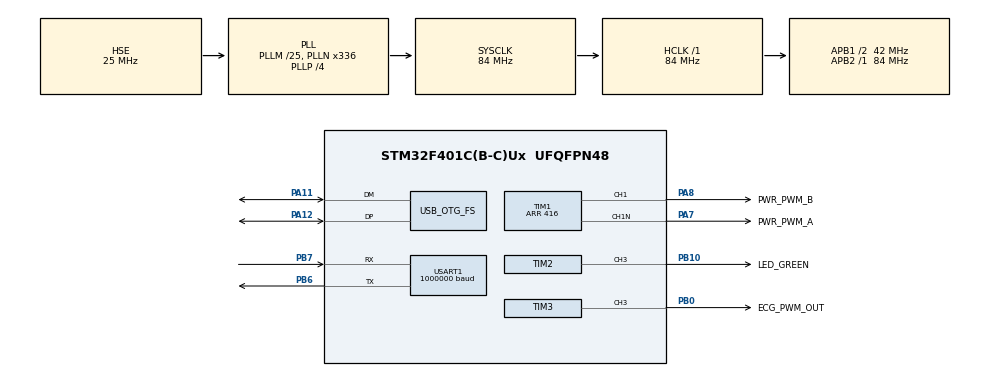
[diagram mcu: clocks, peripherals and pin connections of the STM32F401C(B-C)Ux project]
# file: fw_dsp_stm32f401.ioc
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Dma.Request0=USART1_RX
Dma.Request1=USART1_TX
Dma.USART1_RX.0.Direction=DMA_PERIPH_TO_MEMORY
Dma.USART1_RX.0.FIFOMode=DMA_FIFOMODE_DISABLE
Dma.USART1_RX.0.Instance=DMA2_Stream2
Dma.USART1_RX.0.MemDataAlignment=DMA_MDATAALIGN_BYTE
Dma.USART1_RX.0.MemInc=DMA_MINC_ENABLE
Dma.USART1_RX.0.Mode=DMA_NORMAL
Dma.USART1_RX.0.PeriphDataAlignment=DMA_PDATAALIGN_BYTE
Dma.USART1_RX.0.PeriphInc=DMA_PINC_DISABLE
Dma.USART1_RX.0.Priority=DMA_PRIORITY_HIGH
Dma.USART1_TX.1.Direction=DMA_MEMORY_TO_PERIPH
Dma.USART1_TX.1.FIFOMode=DMA_FIFOMODE_DISABLE
Dma.USART1_TX.1.Instance=DMA2_Stream7
Dma.USART1_TX.1.MemDataAlignment=DMA_MDATAALIGN_BYTE
Dma.USART1_TX.1.MemInc=DMA_MINC_ENABLE
Dma.USART1_TX.1.Mode=DMA_NORMAL
Dma.USART1_TX.1.PeriphDataAlignment=DMA_PDATAALIGN_BYTE
Dma.USART1_TX.1.PeriphInc=DMA_PINC_DISABLE
Dma.USART1_TX.1.Priority=DMA_PRIORITY_MEDIUM
Mcu.Family=STM32F4
Mcu.Name=STM32F401C(B-C)Ux
Mcu.Package=UFQFPN48
NVIC.DMA2_Stream2_IRQn=true\:0\:0\:false\:false\:true\:false\:true
NVIC.DMA2_Stream7_IRQn=true\:0\:0\:false\:false\:true\:false\:true
NVIC.OTG_FS_IRQn=true\:0\:0\:false\:false\:true\:false\:true
NVIC.PriorityGroup=NVIC_PRIORITYGROUP_4
NVIC.TIM1_BRK_TIM9_IRQn=true\:2\:0\:true\:false\:true\:true\:true
NVIC.USART1_IRQn=true\:1\:0\:true\:false\:true\:true\:true
PA11.Mode=Device_Only
PA11.Signal=USB_OTG_FS_DM
PA12.Mode=Device_Only
PA12.Signal=USB_OTG_FS_DP
PA7.GPIO_Label=PWR_PWM_A
PA7.Mode=PWM Generation1 CH1 CH1N
PA7.Signal=TIM1_CH1N
PA8.GPIO_Label=PWR_PWM_B
PA8.Signal=S_TIM1_CH1
PB0.GPIO_Label=ECG_PWM_OUT
PB0.Signal=S_TIM3_CH3
PB10.GPIO_Label=LED_GREEN
PB10.Signal=S_TIM2_CH3
PB6.Mode=Asynchronous
PB6.Signal=USART1_TX
PB7.Mode=Asynchronous
PB7.Signal=USART1_RX
PH0\ -\ OSC_IN.Mode=HSE-External-Oscillator
PH0\ -\ OSC_IN.Signal=RCC_OSC_IN
PH1\ -\ OSC_OUT.Mode=HSE-External-Oscillator
PH1\ -\ OSC_OUT.Signal=RCC_OSC_OUT
ProjectManager.HeapSize=0x200
ProjectManager.StackSize=0x400
ProjectManager.TargetToolchain=STM32CubeIDE
RCC.48MHZClocksFreq_Value=48000000
RCC.AHBFreq_Value=84000000
RCC.APB1CLKDivider=RCC_HCLK_DIV2
RCC.APB1Freq_Value=42000000
RCC.APB1TimFreq_Value=84000000
RCC.APB2Freq_Value=84000000
RCC.APB2TimFreq_Value=84000000
RCC.CortexFreq_Value=84000000
RCC.EnbaleCSS=true
RCC.HCLKFreq_Value=84000000
RCC.HSE_VALUE=25000000
RCC.HSI_VALUE=16000000
RCC.LSE_VALUE=32768
RCC.PLLM=25
RCC.PLLN=336
RCC.PLLP=RCC_PLLP_DIV4
RCC.PLLQ=7
RCC.SYSCLKFreq_VALUE=84000000
RCC.SYSCLKSource=RCC_SYSCLKSOURCE_PLLCLK
RCC.VCOOutputFreq_Value=336000000
SH.S_TIM1_CH1.0=TIM1_CH1,PWM Generation1 CH1 CH1N
SH.S_TIM2_CH3.0=TIM2_CH3,PWM Generation3 CH3
SH.S_TIM3_CH3.0=TIM3_CH3,PWM Generation3 CH3
TIM1.AutoReloadPreload=TIM_AUTORELOAD_PRELOAD_ENABLE
TIM1.Channel-PWM\ Generation1\ CH1\ CH1N=TIM_CHANNEL_1
TIM1.DeadTime=37
TIM1.Period=416
TIM1.Pulse-PWM\ Generation1\ CH1\ CH1N=208
TIM2.AutoReloadPreload=TIM_AUTORELOAD_PRELOAD_ENABLE
TIM2.Channel-PWM\ Generation3\ CH3=TIM_CHANNEL_3
TIM2.Period=1999
TIM2.Prescaler=41999
TIM2.Pulse-PWM\ Generation3\ CH3=299
TIM3.AutoReloadPreload=TIM_AUTORELOAD_PRELOAD_ENABLE
TIM3.Channel-PWM\ Generation3\ CH3=TIM_CHANNEL_3
TIM3.Period=255
TIM9.AutoReloadPreload=TIM_AUTORELOAD_PRELOAD_ENABLE
TIM9.Period=1999
TIM9.Prescaler=83
USART1.BaudRate=1000000
USART1.StopBits=STOPBITS_2
USART1.VirtualMode=VM_ASYNC
USB_DEVICE.APP_RX_DATA_SIZE=576
USB_DEVICE.APP_TX_DATA_SIZE=640
USB_DEVICE.CLASS_NAME_FS=CDC
USB_DEVICE.VirtualMode=Cdc
USB_DEVICE.VirtualModeFS=Cdc_FS
USB_OTG_FS.VirtualMode=Device_Only
VP_TIM1_VS_ClockSourceINT.Mode=Internal
VP_TIM2_VS_ClockSourceINT.Mode=Internal
VP_TIM3_VS_ClockSourceINT.Mode=Internal
VP_TIM9_VS_ClockSourceINT.Mode=Internal
VP_USB_DEVICE_VS_USB_DEVICE_CDC_FS.Mode=CDC_FS
board=custom

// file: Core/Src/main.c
/* USER CODE BEGIN Header */
/**
  ******************************************************************************
  * @file           : main.c
  * @brief          : Main program body
  ******************************************************************************
  * @attention
  *
  * Copyright (c) 2022 STMicroelectronics.
  * All rights reserved.
  *
  * This software is licensed under terms that can be found in the LICENSE file
  * in the root directory of this software component.
  * If no LICENSE file comes with this software, it is provided AS-IS.
  *
  ******************************************************************************
  */
/* USER CODE END Header */
#include "main.h"
#include "dma.h"
#include "tim.h"
#include "usart.h"
#include "usb_device.h"
#include "gpio.h"

/* USER CODE BEGIN Includes */
#include "usbd_cdc_if.h"
#include "dsp_filter.h"
#include "stdio.h"
#include "stdlib.h"
/* USER CODE END Includes */

/* USER CODE BEGIN PTD */
typedef enum
{
	CMD_LED = 'L',
	CMD_MUX = 'C',
	CMD_SH  = 'S',
	CMD_ADC = 'A',
	CMD_DAC = 'D',
	CMD_ACQ = 'B'
} AFE_CmdType;
AFE_CmdType cmdType;

typedef enum
{
	CMD_LED_OFF   = 0x0000,
	CMD_LED_ON    = 0x0001,
	CMD_SH_HOLD   = 0x0000,
	CMD_SH_SAMPLE = 0x0001,
	CMD_MUX_R_F   = 0x0005,
	CMD_MUX_L_F   = 0x0004,
	CMD_MUX_C1_F  = 0x0000,
	CMD_MUX_C2_F  = 0x0006,
	CMD_MUX_C3_F  = 0x0007,
	CMD_MUX_C4_F  = 0x0002,
	CMD_MUX_C5_F  = 0x0001,
	CMD_MUX_C6_F  = 0x0003
} AFE_CmdValue;
AFE_CmdValue cmdValue;
/* USER CODE END PTD */

/* USER CODE BEGIN PV */
// Filter

// Buffer untuk menyimpan data dari AFE
volatile uint16_t AFE_ADCRawData[8]; 			// Urutan ADC2 R-F, L-F, C1-F, ..., C6-F
volatile float DSP_ECGInputData[8];			// ADC2 dikonversi ke tegangan (mV)
volatile int16_t DSP_ECGOutputData[160];
volatile const float DSP_ADCToMillivoltScale = 0.000794728597;
volatile const float DSP_MillivoltToADCScale = 1258.2912;

volatile DSP_STFilter stFilter[8];
volatile DSP_LowPassFilter lpFilter[8];
volatile DSP_HighPassFilter hpFilter[8];
volatile DSP_PowerLineFilter plFilter[8];

volatile uint8_t isDataReady = 0;
volatile uint8_t txUsbBufferCount = 0;

/* USER CODE END PV */

void SystemClock_Config(void);

int main(void)
{

  /* MCU Configuration--------------------------------------------------------*/

  /* Reset of all peripherals, Initializes the Flash interface and the Systick. */
  HAL_Init();

  /* Configure the system clock */
  SystemClock_Config();

  /* Initialize all configured peripherals */
  MX_GPIO_Init();
  MX_DMA_Init();
  MX_USART1_UART_Init();
  MX_TIM1_Init();
  MX_TIM2_Init();
  MX_TIM3_Init();
  MX_TIM9_Init();
  MX_USB_DEVICE_Init();
  /* USER CODE BEGIN 2 */

  HAL_TIM_PWM_Start(&htim2, TIM_CHANNEL_3);
  TIM2->CCR3 = 0;

  // Inisialisasi AFE

  /* USER CODE END 2 */

  /* Infinite loop */
  while (1)
  {

    /* USER CODE BEGIN 3 */

	// Mulai pengolahan sinyal
	if(isDataReady == 1)
	{
		for(int8_t i=0; i<8; i++)
		{
			// ST Filter ---> HPF ---> LPF ---> Powerline Filter
			// 1. ST Filter 0,05 Hz
			stFilter[i].x = DSP_ECGInputData[i];
			stFilter[i].b0 = STFilt_b0;
			stFilter[i].b1 = STFilt_b1;
			stFilter[i].a1 = STFilt_a1;
			stFilter[i].w1 = stFilter[i].w0;
			stFilter[i].w0 = stFilter[i].x - stFilter[i].a1*stFilter[i].w1;
			stFilter[i].y  = stFilter[i].b0*stFilter[i].w0 + stFilter[i].b1*stFilter[i].w1;
			if(stFilter[i].y > 5.000) stFilter[i].y = 5.000;
			if(stFilter[i].y < -5.000) stFilter[i].y = -5.000;

			// 2. High Pass Filter
			hpFilter[i].x = stFilter[i].y;
			if(hpFilter[i].isFilterOn == 1)
			{
				hpFilter[i].w1 = hpFilter[i].w0;
				hpFilter[i].w0 = hpFilter[i].x - hpFilter[i].a1*hpFilter[i].w1;
				hpFilter[i].y  = hpFilter[i].b0*hpFilter[i].w0 + hpFilter[i].b1*hpFilter[i].w1;
			}
			else
			{
				hpFilter[i].y = hpFilter[i].x;
			}
			if(hpFilter[i].y > 5.000) hpFilter[i].y = 5.000;
			if(hpFilter[i].y < -5.000) hpFilter[i].y = -5.000;

			// 3. Low Pass Filter
			lpFilter[i].x = hpFilter[i].y;
			lpFilter[i].w12 = lpFilter[i].w11;
			lpFilter[i].w11 = lpFilter[i].w10;
			lpFilter[i].w10 = lpFilter[i].x*lpFilter[i].K1 - lpFilter[i].w11*lpFilter[i].a11 - lpFilter[i].w12*lpFilter[i].a12;
			// Hitung output section 1
			lpFilter[i].y1 = lpFilter[i].w10 + 2*lpFilter[i].w11 + lpFilter[i].w12;
			// Update buffer section 2
			lpFilter[i].w22 = lpFilter[i].w21;
			lpFilter[i].w21 = lpFilter[i].w20;
			lpFilter[i].w20 = lpFilter[i].y1*lpFilter[i].K2 - lpFilter[i].w21*lpFilter[i].a21 - lpFilter[i].w22*lpFilter[i].a22;
			// Hitung output section 2
			lpFilter[i].y2 = lpFilter[i].w20 + 2*lpFilter[i].w21 + lpFilter[i].w22;
			if(lpFilter[i].y2 > 5.000) lpFilter[i].y2 = 5.000;
			if(lpFilter[i].y2 < -5.000) lpFilter[i].y2 = -5.000;

			// 4. Power Line Filter
			// To-do: implementasi metode subtraksi
			plFilter[i].x = lpFilter[i].y2;
			if(plFilter[i].isFilterOn == 1)
			{
				// plFilter[i].Buffer[plFilter[i].Ptr] = plFilter[i].x;
				// plFilter[i].y += 0.1 * (plFilter[i].Buffer[plFilter[i].Ptr] - plFilter[i].Buffer[(plFilter[i].Ptr - 10) & 15]);

				// Update DBuffer (delay buffer)
				plFilter[i].DBuffer[plFilter[i].Ptr] = plFilter[i].x;

				// Hitung K-filter Update BBuffer (FIFO buffer menyimpan sinyal interferensi)
				plFilter[i].Kf += 0.1 * (plFilter[i].DBuffer[(plFilter[i].Ptr-4) & 31] - plFilter[i].DBuffer[(plFilter[i].Ptr-14) & 31]);
				plFilter[i].BBuffer[(plFilter[i].Ptr-4) & 31] = plFilter[i].DBuffer[(plFilter[i].Ptr-9) & 31] - plFilter[i].Kf;

				// Hitung D-filter
				plFilter[i].Df = plFilter[i].DBuffer[(plFilter[i].Ptr-19) & 31] - 2.0*plFilter[i].DBuffer[(plFilter[i].Ptr-9) & 31] + plFilter[i].DBuffer[plFilter[i].Ptr];
				plFilter[i].Df *= plFilter[i].Df;

				// Subtraksi berdasarkan kriteria linear
				if(plFilter[i].Df < 0.24)
				{
					plFilter[i].y = plFilter[i].DBuffer[(plFilter[i].Ptr-9) & 31] - plFilter[i].BBuffer[(plFilter[i].Ptr-4) & 31];
				}
				else
				{
					plFilter[i].BBuffer[(plFilter[i].Ptr-4) & 31] = plFilter[i].BBuffer[(plFilter[i].Ptr-14) & 31];
					plFilter[i].y = plFilter[i].DBuffer[(plFilter[i].Ptr-9) & 31] - plFilter[i].BBuffer[(plFilter[i].Ptr-14) & 31];
				}

				// Update pointer setiap fungsi ini diambil
				plFilter[i].Ptr = (plFilter[i].Ptr + 1) & 31;
			}
			else
			{
				plFilter[i].y = plFilter[i].x;
			}
			if(plFilter[i].y > 5.000) plFilter[i].y = 5.000;
			if(plFilter[i].y < -5.000) plFilter[i].y = -5.000;

			// Simpan di buffer
			DSP_ECGOutputData[(txUsbBufferCount * 8) + i] = (int16_t)(plFilter[i].y * DSP_MillivoltToADCScale);
		}
		if(txUsbBufferCount == 19)
		{
			CDC_Transmit_FS((uint8_t*)DSP_ECGOutputData, 320);
		}
		txUsbBufferCount = (txUsbBufferCount + 1) % 20;
		isDataReady = 0;
	}
	// Update pengaturan DSP
	if(usbCmd->updated == 0x01)
	{
		switch(usbCmd->command)
		{
			case 'H':	// Pengaturan HPF
				for(int8_t i=7; i>-1; i--)
				{
					if(usbCmd->value == 0)	// Nonaktifkan HPF
					{
						hpFilter[i].isFilterOn = 0;
					}
					if(usbCmd->value == 1)	// HPF 0.25 Hz
					{
						hpFilter[i].isFilterOn = 1;
						// Reset filter
						hpFilter[i].w0 = 0.0;
						hpFilter[i].w1 = 0.0;
						// Set filter
						hpFilter[i].b0 = HPF_b0_025Hz;
						hpFilter[i].b1 = HPF_b1_025Hz;
						hpFilter[i].a1 = HPF_a1_025Hz;
					}
					if(usbCmd->value == 2)	// HPF 0.5 Hz
					{
						hpFilter[i].isFilterOn = 1;
						// Reset filter
						hpFilter[i].w0 = 0.0;
						hpFilter[i].w1 = 0.0;
						// Set filter
						hpFilter[i].b0 = HPF_b0_050Hz;
						hpFilter[i].b1 = HPF_b1_050Hz;
						hpFilter[i].a1 = HPF_a1_050Hz;
					}
				}
				break;
			case 'L':	// Pengaturan LPF
				for(int8_t i=7; i>-1; i--)
				{
					if(usbCmd->value == 0)	// LPF 40 Hz
					{
						// Reset filter
						lpFilter[i].w10 = 0.0;
						lpFilter[i].w11 = 0.0;
						lpFilter[i].w12 = 0.0;
						lpFilter[i].w20 = 0.0;
						lpFilter[i].w21 = 0.0;
						lpFilter[i].w22 = 0.0;
						// Set pengaturan filter
						lpFilter[i].K1  = LPF_K_40Hz[0];
						lpFilter[i].K2  = LPF_K_40Hz[1];
						lpFilter[i].a11 = LPF_a1_40Hz[1];
						lpFilter[i].a12 = LPF_a1_40Hz[2];
						lpFilter[i].a21 = LPF_a2_40Hz[1];
						lpFilter[i].a22 = LPF_a2_40Hz[2];
					}
					if(usbCmd->value == 1)	// LPF 75 Hz
					{
						// Reset filter
						lpFilter[i].w10 = 0.0;
						lpFilter[i].w11 = 0.0;
						lpFilter[i].w12 = 0.0;
						lpFilter[i].w20 = 0.0;
						lpFilter[i].w21 = 0.0;
						lpFilter[i].w22 = 0.0;
						// Set pengaturan filter
						lpFilter[i].K1  = LPF_K_75Hz[0];
						lpFilter[i].K2  = LPF_K_75Hz[1];
						lpFilter[i].a11 = LPF_a1_75Hz[1];
						lpFilter[i].a12 = LPF_a1_75Hz[2];
						lpFilter[i].a21 = LPF_a2_75Hz[1];
						lpFilter[i].a22 = LPF_a2_75Hz[2];
					}
					if(usbCmd->value == 2)	// LPF 150 Hz
					{
						// Reset filter
						lpFilter[i].w10 = 0.0;
						lpFilter[i].w11 = 0.0;
						lpFilter[i].w12 = 0.0;
						lpFilter[i].w20 = 0.0;
						lpFilter[i].w21 = 0.0;
						lpFilter[i].w22 = 0.0;
						// Set pengaturan filter
						lpFilter[i].K1  = LPF_K_150Hz[0];
						lpFilter[i].K2  = LPF_K_150Hz[1];
						lpFilter[i].a11 = LPF_a1_150Hz[1];
						lpFilter[i].a12 = LPF_a1_150Hz[2];
						lpFilter[i].a21 = LPF_a2_150Hz[1];
						lpFilter[i].a22 = LPF_a2_150Hz[2];
					}
				}
				break;
			case 'P':	// Pengaturan powerline filter
				for (int8_t i=7; i>-1; i--)
				{
					if(usbCmd->value == 0)	// Powerline filter off
					{
						plFilter[i].isFilterOn = 0;
					}
					if(usbCmd->value == 1)	// Powerline filter on
					{
						plFilter[i].isFilterOn = 1;
					}
				}
				break;
			case 'R':	// Pengaturan kedip LED hijau
				if(usbCmd->value != 0)
				{
					TIM2->CCR3 = 299;
					if(usbCmd->value > 4999)
					{
						TIM2->ARR = 4999;	// Minimum 24 bpm
					}
					else if(usbCmd->value < 331)
					{
						TIM2->ARR = 331;   // Maksimum 360 bpm
					}
					else
					{
						TIM2->ARR = usbCmd->value;
					}
				}
				else
				{
					TIM2->CCR3 = 0;
				}
				break;
			default:
				break;
		}
		usbCmd->updated = 0x00;
	}
  }
  /* USER CODE END 3 */
}

void SystemClock_Config(void)
{
  RCC_OscInitTypeDef RCC_OscInitStruct = {0};
  RCC_ClkInitTypeDef RCC_ClkInitStruct = {0};

  /** Configure the main internal regulator output voltage
  */
  __HAL_RCC_PWR_CLK_ENABLE();
  __HAL_PWR_VOLTAGESCALING_CONFIG(PWR_REGULATOR_VOLTAGE_SCALE2);
  /** Initializes the RCC Oscillators according to the specified parameters
  * in the RCC_OscInitTypeDef structure.
  */
  RCC_OscInitStruct.OscillatorType = RCC_OSCILLATORTYPE_HSE;
  RCC_OscInitStruct.HSEState = RCC_HSE_ON;
  RCC_OscInitStruct.PLL.PLLState = RCC_PLL_ON;
  RCC_OscInitStruct.PLL.PLLSource = RCC_PLLSOURCE_HSE;
  RCC_OscInitStruct.PLL.PLLM = 25;
  RCC_OscInitStruct.PLL.PLLN = 336;
  RCC_OscInitStruct.PLL.PLLP = RCC_PLLP_DIV4;
  RCC_OscInitStruct.PLL.PLLQ = 7;
  if (HAL_RCC_OscConfig(&RCC_OscInitStruct) != HAL_OK)
  {
    Error_Handler();
  }
  /** Initializes the CPU, AHB and APB buses clocks
  */
  RCC_ClkInitStruct.ClockType = RCC_CLOCKTYPE_HCLK|RCC_CLOCKTYPE_SYSCLK
                              |RCC_CLOCKTYPE_PCLK1|RCC_CLOCKTYPE_PCLK2;
  RCC_ClkInitStruct.SYSCLKSource = RCC_SYSCLKSOURCE_PLLCLK;
  RCC_ClkInitStruct.AHBCLKDivider = RCC_SYSCLK_DIV1;
  RCC_ClkInitStruct.APB1CLKDivider = RCC_HCLK_DIV2;
  RCC_ClkInitStruct.APB2CLKDivider = RCC_HCLK_DIV1;

  if (HAL_RCC_ClockConfig(&RCC_ClkInitStruct, FLASH_LATENCY_2) != HAL_OK)
  {
    Error_Handler();
  }
  /** Enables the Clock Security System
  */
  HAL_RCC_EnableCSS();
}

/* USER CODE BEGIN 4 */
/**
 * @brief	Fungsi callback DMA UART
 * 			Dipanggil ketika DMA selesai menerima data dari AFE
 * 			AFE dan DSP berhubungan via USART1
 * @retval	Tidak ada
 *
 */
void HAL_UART_RxCpltCallback(UART_HandleTypeDef* huart)
{
	if((huart->Instance == USART1) && (isDataReady == 0))
	{
		// Konversi ADC ke tegangan (mV)
		for(int8_t i=0; i<8; i++)
		{
			DSP_ECGInputData[i] = (float)(AFE_ADCRawData[i]) * DSP_ADCToMillivoltScale;
		}
		isDataReady = 1;
	}
}

/**
 * @brief 	Fungsi callback TIM9
 * 			Aktif jika TIM9 diaktifkan, digunakan untuk timebase sampling
 * 			Ubah ARR untuk mengubah periode sampling
 * @retval  Tidak ada
 */
void HAL_TIM_PeriodElapsedCallback(TIM_HandleTypeDef* htim)
{
	if(htim->Instance == TIM9)
	{
		// Aktifkan DMA Rx
		HAL_UART_Receive_DMA(&huart1, (uint8_t*)AFE_ADCRawData, 16);

		// Kirim command via DMA, supaya DSP tidak perlu menunggu proses kirim selesai
		afeCmd.command = (uint8_t)CMD_ADC;
		afeCmd.value = 0x0003;
		HAL_UART_Transmit_DMA(&huart1, (uint8_t*)&afeCmd, 4);
	}
}
/* USER CODE END 4 */

void Error_Handler(void)
{
  __disable_irq();
  while (1)
  {
  }
}
